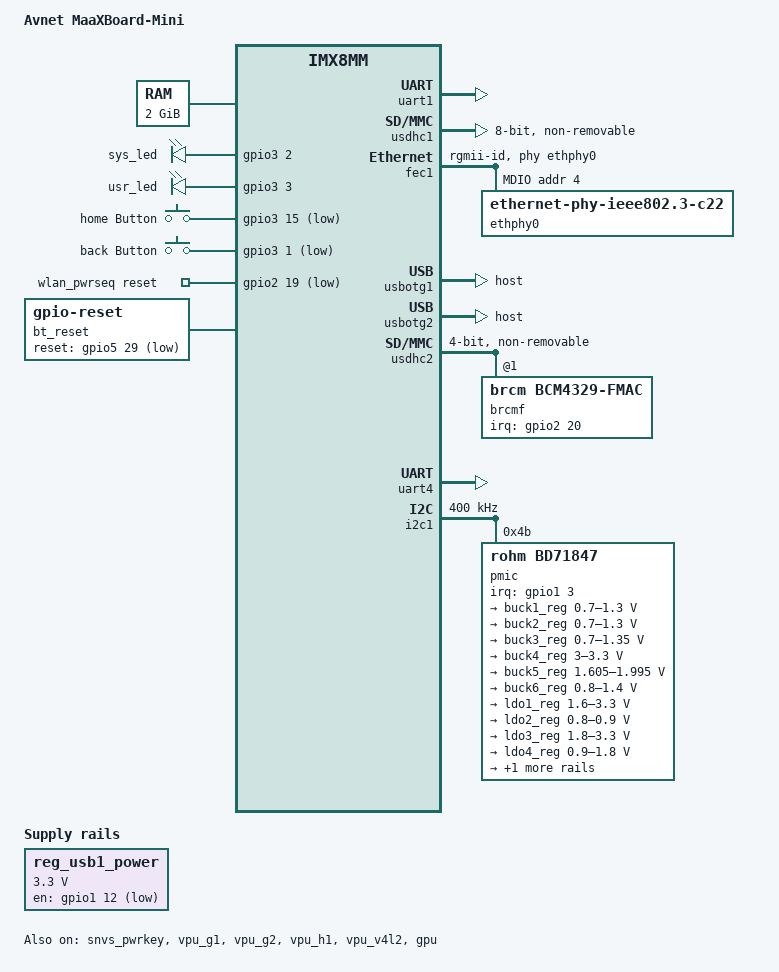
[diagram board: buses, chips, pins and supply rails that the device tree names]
// SPDX-License-Identifier: (GPL-2.0+ OR MIT)
/*
 * Copyright 2019-2020 NXP
 */

/dts-v1/;

#include <dt-bindings/usb/pd.h>
#include "imx8mm.dtsi"

/ {
	model = "Avnet MaaXBoard-Mini";
	compatible = "avnet,maaxboard-mini", "fsl,imx8mm";

	chosen {
		stdout-path = &uart1;
	};

	memory@40000000 {
		device_type = "memory";
		reg = <0x0 0x40000000 0 0x80000000>;
	};

	regulators {
		compatible = "simple-bus";
		#address-cells = <1>;
		#size-cells = <0>;

		reg_usb1_power: regulator-usb-3v3 {
			compatible = "regulator-fixed";
			regulator-name = "usb1-power-en";
			regulator-min-microvolt = <3300000>;
			regulator-max-microvolt = <3300000>;
			gpio = <&gpio1 12 GPIO_ACTIVE_HIGH>;
			off-on-delay = <1000>;
			startup-delay-us = <300>;
		};
	};

	leds {
		compatible = "gpio-leds";
		pinctrl-names = "default";
		pinctrl-0 = <&pinctrl_gpio_leds>;
		status = "okay";

		sys_led {
				label = "sys_led";
				gpios = <&gpio3 2 0>;
				default-state = "on";
				linux,default-trigger = "heartbeat";
		};

		usr_led {
				label = "usr_led";
				gpios = <&gpio3 3 0>;
				default-state = "on";
		};

	};

	gpio_keys {
		compatible = "gpio-keys";
		pinctrl-names = "default";
		pinctrl-0 = <&pinctrl_gpio_keys>;

		home {
			label = "home Button";
			gpios = <&gpio3 15 GPIO_ACTIVE_LOW>;
			linux,code = <KEY_HOMEPAGE>;
			wakeup-source;
		};

		back {
			label = "back Button";
			gpios = <&gpio3 1 GPIO_ACTIVE_LOW>;
			linux,code = <KEY_BACK>;
		};
	};

	/* WiFi & Bluetooth */
	wlan_pwrseq: sdio-pwrseq {
		compatible = "mmc-pwrseq-simple";
		reset-gpios = <&gpio2 19 GPIO_ACTIVE_LOW>;		/* WL_REG_ON */
	};

	bt_reset: bt-reset {
		compatible = "gpio-reset";
		reset-gpios = <&gpio5 29 GPIO_ACTIVE_LOW>;		/* BT_REG_ON */
		reset-delay-us = <1000>;
		reset-post-delay-ms = <40>;
		#reset-cells = <0>;
	};

	/* MiPi LCD backlight */
	backlight: pwm-backlight {
			compatible = "pwm-backlight";
			pwms = <&pwm4 0 40000 0>;
			brightness-levels = <0 8 32 64 96 128 160 192 224 255>;
			default-brightness-level = <8>;
			enable-pwm-on;
			status = "disabled";
	};

};

/* CPU 4 cores */
&A53_0 {
	cpu-supply = <&buck2_reg>;
};

&A53_1 {
	cpu-supply = <&buck2_reg>;
};

&A53_2 {
	cpu-supply = <&buck2_reg>;
};

&A53_3 {
	cpu-supply = <&buck2_reg>;
};

/* Console serial */
&uart1 {
	pinctrl-names = "default";
	pinctrl-0 = <&pinctrl_uart1>;
	assigned-clocks = <&clk IMX8MM_CLK_UART1>;
	assigned-clock-parents = <&clk IMX8MM_SYS_PLL1_80M>;
	status = "okay";
};

/* TF card or eMMC */
&usdhc1 {
	pinctrl-names = "default", "state_100mhz", "state_200mhz";
	pinctrl-names = "default", "state_100mhz";
	pinctrl-0 = <&pinctrl_usdhc1>;
	pinctrl-1 = <&pinctrl_usdhc1_100mhz>;
	pinctrl-2 = <&pinctrl_usdhc1_200mhz>;
	bus-width = <8>;
	no-sdio;
	no-1-8-v;
	non-removable;
	status = "okay";
};

/* Ethernet */
&fec1 {
	pinctrl-names = "default";
	pinctrl-0 = <&pinctrl_fec1>;
	phy-mode = "rgmii-id";
	phy-handle = <&ethphy0>;
	fsl,magic-packet;
	status = "okay";

	mdio {
		#address-cells = <1>;
		#size-cells = <0>;

		ethphy0: ethernet-phy@4 {
			compatible = "ethernet-phy-ieee802.3-c22";
			reg = <4>;
			at803x,led-act-blind-workaround;
			at803x,eee-okay;
			at803x,vddio-1p8v;
		};
	};
};

/* Two USB2.0 Host */
&usbotg1 {
	dr_mode = "host";
	picophy,pre-emp-curr-control = <3>;
	picophy,dc-vol-level-adjust = <7>;
	status = "okay";
};

&usbotg2 {
	dr_mode = "host";
	picophy,pre-emp-curr-control = <3>;
	picophy,dc-vol-level-adjust = <7>;
	status = "okay";
};

/* WiFi on SDHC2 */
&usdhc2 {
	pinctrl-names = "default", "state_100mhz";
	pinctrl-0 = <&pinctrl_usdhc2>, <&pinctrl_wlan_gpio>;
	pinctrl-1 = <&pinctrl_usdhc2_100mhz>, <&pinctrl_wlan_gpio>;
	bus-width = <4>;
	mmc-pwrseq = <&wlan_pwrseq>;
	no-1-8-v;
	non-removable;
	pm-ignore-notify;
	cap-power-off-card;
	status = "okay";

	#address-cells = <1>;
	#size-cells = <0>;
	brcmf: bcrmf@1 {
		reg = <1>;
		compatible = "brcm,bcm4329-fmac";
		interrupt-parent = <&gpio2>;
		interrupts = <20 IRQ_TYPE_LEVEL_LOW>;
		interrupt-names = "host-wake";
	};
};

/* Bluetooth on UART4 */
&uart4 {
	pinctrl-names = "default";
	pinctrl-0 = <&pinctrl_uart4>;
	fsl,uart-has-rtscts;
	assigned-clocks = <&clk IMX8MM_CLK_UART4>;
	assigned-clock-parents = <&clk IMX8MM_SYS_PLL1_80M>;
	resets = <&bt_reset>;
	status = "okay";
};

/* MIPI-DSI LCD and Touch Screen */
&pwm4 {
        pinctrl-names = "default";
        pinctrl-0 = <&pinctrl_pwm4>;
        status = "disabled";
};

&lcdif {
	status = "disabled";
	max-memory-bandwidth = <221257728>; /* 720x1280-32@60.02 */
};

&mipi_dsi {
	status = "disabled";
};

&i2c4 {
	clock-frequency = <400000>;
	pinctrl-names = "default";
	pinctrl-0 = <&pinctrl_i2c4>;
	status = "disabled";

	/* For Avnet PH720128T003 LCD display */
	ft5426: ft5426_ts@38 {
		status = "disabled";
		compatible = "focaltech,fts";
		reg = <0x38>;
		pinctrl-names = "default";
		pinctrl-0 = <&pinctrl_ts>;
		interrupt-parent = <&gpio3>;
		interrupts = <19 IRQ_TYPE_EDGE_FALLING>;
		focaltech,irq-gpio = <&gpio3 19 GPIO_ACTIVE_LOW>;
		focaltech,reset-gpio = <&gpio3 20 GPIO_ACTIVE_LOW>;
		focaltech,max-touch-number = <10>;
		focaltech,panel-type = <0x54260002>; /* _FT5426 */
		focaltech,display-coords =  <0 0 720 1280>;
		focaltech,have-key;
		focaltech,key-number = <3>;
		focaltech,keys = <139 102 158>;
		focaltech,key-y-coord = <2000>;
		focaltech,key-x-coords = <200 600 800>;
	};

	/* For Avnet PH720128T005 LCD display */
	gt911: gt911_ts@5d {
		status = "disabled";
		compatible = "goodix,gt911";
		reg = <0x5d>;
		pinctrl-names = "default";
		pinctrl-0 = <&pinctrl_ts>;
		interrupt-parent = <&gpio3>;
		interrupts = <19 IRQ_TYPE_EDGE_FALLING>;
		irq-gpios = <&gpio3 19 GPIO_ACTIVE_HIGH>;
		reset-gpios = <&gpio3 20 GPIO_ACTIVE_HIGH>;
		touchscreen-size-x = <720>;
		touchscreen-size-y = <1280>;
		edge-failling-trigger;
	};
};

/* Press this key for 8 seconds will shutdown */
&snvs_pwrkey {
	status = "okay";
};

&vpu_g1 {
	status = "okay";
};

&vpu_g2 {
	status = "okay";
};

&vpu_h1 {
	status = "okay";
};

&vpu_v4l2 {
	status = "okay";
};

&gpu {
	status = "okay";
};

/* PMIC */
&i2c1 {
	clock-frequency = <400000>;
	pinctrl-names = "default";
	pinctrl-0 = <&pinctrl_i2c1>;
	status = "okay";

	pmic@4b {
		compatible = "rohm,bd71847";
		reg = <0x4b>;
		pinctrl-0 = <&pinctrl_pmic>;
		pinctrl-names = "default";
		interrupt-parent = <&gpio1>;
		interrupts = <3 GPIO_ACTIVE_LOW>;
		rohm,reset-snvs-powered;

		regulators {
			buck1_reg: BUCK1 {
				regulator-name = "BUCK1";
				regulator-min-microvolt = <700000>;
				regulator-max-microvolt = <1300000>;
				regulator-boot-on;
				regulator-always-on;
				regulator-ramp-delay = <1250>;
			};

			buck2_reg: BUCK2 {
				regulator-name = "BUCK2";
				regulator-min-microvolt = <700000>;
				regulator-max-microvolt = <1300000>;
				regulator-boot-on;
				regulator-always-on;
				regulator-ramp-delay = <1250>;
				rohm,dvs-run-voltage = <1000000>;
				rohm,dvs-idle-voltage = <900000>;
			};

			buck3_reg: BUCK3 {
				// BUCK5 in datasheet
				regulator-name = "BUCK3";
				regulator-min-microvolt = <700000>;
				regulator-max-microvolt = <1350000>;
				regulator-boot-on;
				regulator-always-on;
			};

			buck4_reg: BUCK4 {
				// BUCK6 in datasheet
				regulator-name = "BUCK4";
				regulator-min-microvolt = <3000000>;
				regulator-max-microvolt = <3300000>;
				regulator-boot-on;
				regulator-always-on;
			};

			buck5_reg: BUCK5 {
				// BUCK7 in datasheet
				regulator-name = "BUCK5";
				regulator-min-microvolt = <1605000>;
				regulator-max-microvolt = <1995000>;
				regulator-boot-on;
				regulator-always-on;
			};

			buck6_reg: BUCK6 {
				// BUCK8 in datasheet
				regulator-name = "BUCK6";
				regulator-min-microvolt = <800000>;
				regulator-max-microvolt = <1400000>;
				regulator-boot-on;
				regulator-always-on;
			};


			ldo1_reg: LDO1 {
				regulator-name = "LDO1";
				regulator-min-microvolt = <1600000>;
				regulator-max-microvolt = <3300000>;
				regulator-boot-on;
				regulator-always-on;
			};

			ldo2_reg: LDO2 {
				regulator-name = "LDO2";
				regulator-min-microvolt = <800000>;
				regulator-max-microvolt = <900000>;
				regulator-boot-on;
				regulator-always-on;
			};

			ldo3_reg: LDO3 {
				regulator-name = "LDO3";
				regulator-min-microvolt = <1800000>;
				regulator-max-microvolt = <3300000>;
				regulator-boot-on;
				regulator-always-on;
			};

			ldo4_reg: LDO4 {
				regulator-name = "LDO4";
				regulator-min-microvolt = <900000>;
				regulator-max-microvolt = <1800000>;
				regulator-boot-on;
				regulator-always-on;
			};

			ldo6_reg: LDO6 {
				regulator-name = "LDO6";
				regulator-min-microvolt = <900000>;
				regulator-max-microvolt = <1800000>;
				regulator-boot-on;
				regulator-always-on;
			};
		};
	};
};

&iomuxc {
	/* PMIC */
	pinctrl_pmic: pmicirq {
		fsl,pins = <
			MX8MM_IOMUXC_GPIO1_IO03_GPIO1_IO3			0x41
		>;
	};

	pinctrl_i2c1: i2c1grp {
		fsl,pins = <
			MX8MM_IOMUXC_I2C1_SCL_I2C1_SCL				0x400001c3
			MX8MM_IOMUXC_I2C1_SDA_I2C1_SDA				0x400001c3
		>;
	};

	/* Console serial */
	pinctrl_uart1: uart1grp {
		fsl,pins = <
			MX8MM_IOMUXC_UART1_RXD_UART1_DCE_RX			0x140
			MX8MM_IOMUXC_UART1_TXD_UART1_DCE_TX			0x140
		>;
	};

	/* TF card or eMMC */
	pinctrl_usdhc1: usdhc1grp {
		fsl,pins = <
			MX8MM_IOMUXC_SD1_CLK_USDHC1_CLK				0x190
			MX8MM_IOMUXC_SD1_CMD_USDHC1_CMD				0x1d0
			MX8MM_IOMUXC_SD1_DATA0_USDHC1_DATA0			0x1d0
			MX8MM_IOMUXC_SD1_DATA1_USDHC1_DATA1			0x1d0
			MX8MM_IOMUXC_SD1_DATA2_USDHC1_DATA2			0x1d0
			MX8MM_IOMUXC_SD1_DATA3_USDHC1_DATA3			0x1d0
			MX8MM_IOMUXC_SD1_DATA4_USDHC1_DATA4			0x1d0
			MX8MM_IOMUXC_SD1_DATA5_USDHC1_DATA5			0x1d0
			MX8MM_IOMUXC_SD1_DATA6_USDHC1_DATA6			0x1d0
			MX8MM_IOMUXC_SD1_DATA7_USDHC1_DATA7			0x1d0
			MX8MM_IOMUXC_SD1_RESET_B_USDHC1_RESET_B		0x1d0
			MX8MM_IOMUXC_SD1_STROBE_USDHC1_STROBE		0x190
		>;
	};

	pinctrl_usdhc1_100mhz: usdhc1grp100mhz {
		fsl,pins = <
			MX8MM_IOMUXC_SD1_CLK_USDHC1_CLK				0x194
			MX8MM_IOMUXC_SD1_CMD_USDHC1_CMD				0x1d4
			MX8MM_IOMUXC_SD1_DATA0_USDHC1_DATA0			0x1d4
			MX8MM_IOMUXC_SD1_DATA1_USDHC1_DATA1			0x1d4
			MX8MM_IOMUXC_SD1_DATA2_USDHC1_DATA2			0x1d4
			MX8MM_IOMUXC_SD1_DATA3_USDHC1_DATA3			0x1d4
			MX8MM_IOMUXC_SD1_DATA4_USDHC1_DATA4			0x1d4
			MX8MM_IOMUXC_SD1_DATA5_USDHC1_DATA5			0x1d4
			MX8MM_IOMUXC_SD1_DATA6_USDHC1_DATA6			0x1d4
			MX8MM_IOMUXC_SD1_DATA7_USDHC1_DATA7			0x1d4
			MX8MM_IOMUXC_SD1_RESET_B_USDHC1_RESET_B		0x1d4
			MX8MM_IOMUXC_SD1_STROBE_USDHC1_STROBE		0x194
		>;
	};

	pinctrl_usdhc1_200mhz: usdhc1grp200mhz {
		fsl,pins = <
			MX8MM_IOMUXC_SD1_CLK_USDHC1_CLK         0x196
			MX8MM_IOMUXC_SD1_CMD_USDHC1_CMD         0x1d6
			MX8MM_IOMUXC_SD1_DATA0_USDHC1_DATA0     0x1d6
			MX8MM_IOMUXC_SD1_DATA1_USDHC1_DATA1     0x1d6
			MX8MM_IOMUXC_SD1_DATA2_USDHC1_DATA2     0x1d6
			MX8MM_IOMUXC_SD1_DATA3_USDHC1_DATA3     0x1d6
			MX8MM_IOMUXC_SD1_DATA4_USDHC1_DATA4     0x1d6
			MX8MM_IOMUXC_SD1_DATA5_USDHC1_DATA5     0x1d6
			MX8MM_IOMUXC_SD1_DATA6_USDHC1_DATA6     0x1d6
			MX8MM_IOMUXC_SD1_DATA7_USDHC1_DATA7     0x1d6
			MX8MM_IOMUXC_SD1_STROBE_USDHC1_STROBE   0x196
		>;
	};

	/* Ethernet */
	pinctrl_fec1: fec1grp {
		fsl,pins = <
			MX8MM_IOMUXC_ENET_MDC_ENET1_MDC				0x3
			MX8MM_IOMUXC_ENET_MDIO_ENET1_MDIO			0x3
			MX8MM_IOMUXC_ENET_TD3_ENET1_RGMII_TD3		0x1f
			MX8MM_IOMUXC_ENET_TD2_ENET1_RGMII_TD2		0x1f
			MX8MM_IOMUXC_ENET_TD1_ENET1_RGMII_TD1		0x1f
			MX8MM_IOMUXC_ENET_TD0_ENET1_RGMII_TD0		0x1f
			MX8MM_IOMUXC_ENET_RD3_ENET1_RGMII_RD3		0x91
			MX8MM_IOMUXC_ENET_RD2_ENET1_RGMII_RD2		0x91
			MX8MM_IOMUXC_ENET_RD1_ENET1_RGMII_RD1		0x91
			MX8MM_IOMUXC_ENET_RD0_ENET1_RGMII_RD0		0x91
			MX8MM_IOMUXC_ENET_TXC_ENET1_RGMII_TXC		0x1f
			MX8MM_IOMUXC_ENET_RXC_ENET1_RGMII_RXC		0x91
			MX8MM_IOMUXC_ENET_RX_CTL_ENET1_RGMII_RX_CTL 0x91
			MX8MM_IOMUXC_ENET_TX_CTL_ENET1_RGMII_TX_CTL 0x1f
			MX8MM_IOMUXC_GPIO1_IO07_GPIO1_IO7			0x19
		>;
	};
 
	/* USB power enable */
	pinctrl_usb_pwren: usb_pwrengrp {
		fsl,pins = <
			MX8MM_IOMUXC_GPIO1_IO12_GPIO1_IO12			0x02
		>;
	};

	/* Leds and keys */
	pinctrl_gpio_leds: gpio_ledsgrp {
		fsl,pins = <
			MX8MM_IOMUXC_NAND_CE1_B_GPIO3_IO2			0x19
			MX8MM_IOMUXC_NAND_CE2_B_GPIO3_IO3			0x19
		>;
	};

	pinctrl_gpio_keys: gpio_keysgrp {
		fsl,pins = <
			MX8MM_IOMUXC_NAND_RE_B_GPIO3_IO15			0x144
			MX8MM_IOMUXC_NAND_CE0_B_GPIO3_IO1			0x144
		>;
	};

	/* WiFi & Bluetooth */
	pinctrl_usdhc2: usdhc2grp {
		fsl,pins = <
			MX8MM_IOMUXC_SD2_CLK_USDHC2_CLK				0x190
			MX8MM_IOMUXC_SD2_CMD_USDHC2_CMD				0x1d0
			MX8MM_IOMUXC_SD2_DATA0_USDHC2_DATA0			0x1d0
			MX8MM_IOMUXC_SD2_DATA1_USDHC2_DATA1			0x1d0
			MX8MM_IOMUXC_SD2_DATA2_USDHC2_DATA2			0x1d0
			MX8MM_IOMUXC_SD2_DATA3_USDHC2_DATA3			0x1d0
		>;
	};

	pinctrl_usdhc2_100mhz: usdhc2grp100mhz {
		fsl,pins = <
			MX8MM_IOMUXC_SD2_CLK_USDHC2_CLK				0x194
			MX8MM_IOMUXC_SD2_CMD_USDHC2_CMD				0x1d4
			MX8MM_IOMUXC_SD2_DATA0_USDHC2_DATA0			0x1d4
			MX8MM_IOMUXC_SD2_DATA1_USDHC2_DATA1			0x1d4
			MX8MM_IOMUXC_SD2_DATA2_USDHC2_DATA2			0x1d4
			MX8MM_IOMUXC_SD2_DATA3_USDHC2_DATA3			0x1d4
		>;
	};

	pinctrl_wlan_gpio: usdhc2grpwlan {
		fsl,pins = <
			MX8MM_IOMUXC_SD2_RESET_B_GPIO2_IO19			0x41 /* WL_REG_ON */
			MX8MM_IOMUXC_SD2_WP_GPIO2_IO20				0x41 /* WL_HOST_WAKE irq */
			MX8MM_IOMUXC_UART4_TXD_GPIO5_IO29			0x41 /* BT_REG_ON */
			MX8MM_IOMUXC_GPIO1_IO00_ANAMIX_REF_CLK_32K	0x141 /* SUSCLK_IN 32k */
		>;
	};

	pinctrl_uart4: uart4grp {
		fsl,pins = <
			MX8MM_IOMUXC_ECSPI2_SCLK_UART4_DCE_RX		0x140
			MX8MM_IOMUXC_ECSPI2_MOSI_UART4_DCE_TX		0x140
			MX8MM_IOMUXC_ECSPI2_MISO_UART4_DCE_CTS_B	0x140
			MX8MM_IOMUXC_ECSPI2_SS0_UART4_DCE_RTS_B		0x140
		>;
	};

	/* MIPI-DSI LCD and Touch Screen */
	pinctrl_pwm4: pwm4_grp {
		fsl,pins = <
			MX8MM_IOMUXC_SAI3_MCLK_PWM4_OUT				0x06
		>;
	};

	pinctrl_ts: ts_pinsgrp {
		fsl,pins = <
			MX8MM_IOMUXC_SAI5_RXFS_GPIO3_IO19			0x19  /* DSI_TS_nINT */
			MX8MM_IOMUXC_SAI5_RXC_GPIO3_IO20			0x19  /* DSI_TS_RST  */
		>;
	};

	pinctrl_i2c4: i2c4grp {
		fsl,pins = <
			MX8MM_IOMUXC_I2C4_SCL_I2C4_SCL				0x400001c3
			MX8MM_IOMUXC_I2C4_SDA_I2C4_SDA				0x400001c3
		>;
	};
};
